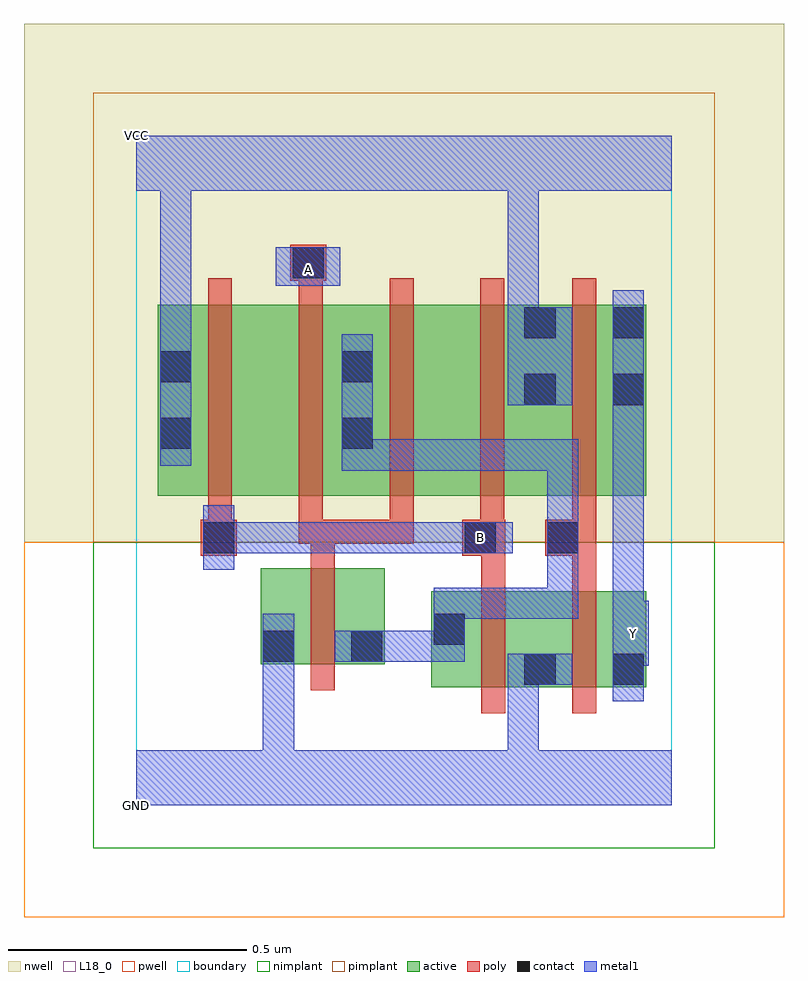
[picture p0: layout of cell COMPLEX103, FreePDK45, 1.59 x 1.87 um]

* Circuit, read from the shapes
.subckt COMPLEX103 A B GND VCC Y
M1 n1 A GND VSUBS nfet w=0.2u l=0.05u
M2 GND B n1 VSUBS nfet w=0.2u l=0.05u
M3 Y n1 GND VSUBS nfet w=0.2u l=0.05u
M4 n2 B VCC n3 pfet w=0.4u l=0.05u
M5 n1 A n2 n3 pfet w=0.4u l=0.05u
M6 n4 A n1 n3 pfet w=0.4u l=0.05u
M7 VCC B n4 n3 pfet w=0.4u l=0.05u
M8 Y n1 VCC n3 pfet w=0.4u l=0.05u
.ends

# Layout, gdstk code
import gdstk
lib = gdstk.Library(unit=1e-6, precision=1e-09)
def R(c, l, rs):  # rectangles x0, y0, x1, y1
    for r in rs: c.add(gdstk.rectangle(r[:2], r[2:], *l))
def A(c, l, x, y, w, h, nx, ny, dx, dy):  # array of equal rectangles
    R(c, l, [(x+i*dx, y+j*dy, x+i*dx+w, y+j*dy+h) for i in range(nx) for j in range(ny)])
active = (1, 0)
pwell = (2, 0)
nwell = (3, 0)
nimplant = (4, 0)
pimplant = (5, 0)
poly = (9, 0)
contact = (10, 0)
metal1 = (11, 0)
L18_0 = (18, 0)
boundary = (235, 0)

complex103 = lib.new_cell('COMPLEX103')
R(complex103, active, [(0.617,0.247,0.882,0.447), (0.807,0.247,1.067,0.447), (0.807,0.247,0.882,0.44), (0.992,0.247,1.067,0.447), (0.26,0.295,0.335,0.495), (0.26,0.295,0.52,0.495), (0.445,0.295,0.52,0.495), (0.617,0.295,0.692,0.447), (0.045,0.647,0.27,1.047), (0.045,0.647,0.12,1.005), (0.27,0.647,0.5,1.047), (0.425,0.647,0.65,1.047), (0.65,0.647,0.882,1.047), (0.807,0.647,1.067,1.047), (0.992,0.647,1.067,1.047), (0.425,0.675,0.5,1.005), (0.807,0.832,0.882,1.047)])
R(complex103, pwell, [(-0.235,-0.235,1.355,0.55)])
R(complex103, nwell, [(-0.235,0.55,1.355,1.635)])
R(complex103, nimplant, [(-0.09,-0.09,1.21,0.55)])
R(complex103, pimplant, [(-0.09,0.55,1.21,1.49)])
A(complex103, poly, 0.15, 0.547, 0.05, 0.095, 4, 1, 0.19, 0)
A(complex103, poly, 0.15, 0.592, 0.05, 0.51, 4, 1, 0.19, 0)
R(complex103, poly, [(0.722,0.192,0.772,0.502), (0.912,0.192,0.962,0.502), (0.365,0.24,0.415,0.55), (0.722,0.452,0.772,0.572), (0.912,0.452,0.962,0.572), (0.365,0.5,0.415,0.597), (0.135,0.522,0.21,0.597), (0.682,0.522,0.772,0.597), (0.855,0.522,0.962,0.597), (0.34,0.547,0.415,0.597), (0.365,0.547,0.58,0.597), (0.53,0.547,0.58,0.597), (0.53,0.547,0.58,0.597), (0.53,0.547,0.58,0.597), (0.912,0.547,0.962,0.642), (0.912,0.592,0.962,1.102), (0.34,1.052,0.39,1.147), (0.322,1.097,0.397,1.172)])
R(complex103, contact, [(0.812,0.252,0.877,0.317), (0.997,0.252,1.062,0.317), (0.265,0.3,0.33,0.365), (0.45,0.3,0.515,0.365), (0.622,0.335,0.687,0.4), (0.14,0.527,0.205,0.592), (0.687,0.527,0.752,0.592), (0.86,0.527,0.925,0.592), (0.05,0.745,0.115,0.81), (0.43,0.745,0.495,0.81), (0.812,0.837,0.877,0.902), (0.997,0.837,1.062,0.902), (0.05,0.885,0.115,0.95), (0.43,0.885,0.495,0.95), (0.812,0.977,0.877,1.042), (0.997,0.977,1.062,1.042), (0.327,1.102,0.392,1.167)])
R(complex103, metal1, [(0,0,1.12,0.115), (0.265,0.05,0.33,0.115), (0.265,0.05,0.33,0.115), (0.265,0.05,0.33,0.115), (0.265,0.05,0.33,0.115), (0.265,0.05,0.33,0.33), (0.777,0.05,0.842,0.317), (0.997,0.217,1.062,0.352), (0.777,0.252,0.842,0.317), (0.777,0.252,0.842,0.317), (0.777,0.252,0.842,0.317), (0.777,0.252,0.842,0.317), (0.777,0.252,0.912,0.317), (0.265,0.265,0.33,0.4), (0.997,0.287,1.062,0.357), (0.997,0.292,1.072,0.427), (0.415,0.3,0.55,0.365), (0.485,0.3,0.55,0.365), (0.485,0.3,0.55,0.365), (0.485,0.3,0.687,0.365), (0.622,0.3,0.687,0.435), (0.997,0.362,1.062,0.867), (0.622,0.37,0.687,0.435), (0.622,0.37,0.687,0.455), (0.622,0.39,0.925,0.455), (0.86,0.39,0.925,0.455), (0.86,0.39,0.925,0.557), (0.14,0.492,0.205,0.627), (0.86,0.492,0.925,0.627), (0.86,0.492,0.925,0.557), (0.86,0.492,0.925,0.557), (0.86,0.492,0.925,0.765), (0.14,0.527,0.205,0.592), (0.14,0.527,0.205,0.592), (0.14,0.527,0.342,0.592), (0.277,0.527,0.342,0.592), (0.277,0.527,0.342,0.592), (0.277,0.527,0.342,0.592), (0.277,0.527,0.55,0.592), (0.485,0.527,0.55,0.592), (0.485,0.527,0.705,0.592), (0.64,0.527,0.705,0.592), (0.64,0.527,0.717,0.592), (0.652,0.527,0.787,0.592), (0.43,0.7,0.705,0.765), (0.43,0.7,0.495,0.775), (0.64,0.7,0.705,0.765), (0.64,0.7,0.705,0.765), (0.64,0.7,0.705,0.765), (0.64,0.7,0.925,0.765), (0.86,0.7,0.925,0.765), (0.05,0.71,0.115,0.985), (0.43,0.71,0.495,0.985), (0.43,0.71,0.495,0.775), (0.997,0.802,1.062,1.077), (0.777,0.837,0.912,1.042), (0.05,0.92,0.115,0.985), (0.05,0.92,0.115,0.985), (0.05,0.92,0.115,1.35), (0.777,0.977,0.842,1.042), (0.777,0.977,0.842,1.042), (0.777,0.977,0.842,1.35), (0.292,1.087,0.427,1.167), (0,1.285,1.12,1.4), (0.05,1.285,0.115,1.35), (0.05,1.285,0.115,1.35), (0.777,1.285,0.842,1.35), (0.777,1.285,0.842,1.35)])
R(complex103, L18_0, [(0,0,1.12,0.115), (0.265,0.05,0.33,0.115), (0.265,0.05,0.33,0.115), (0.265,0.05,0.33,0.115), (0.265,0.05,0.33,0.115), (0.265,0.05,0.33,0.33), (0.777,0.05,0.842,0.317), (0.997,0.217,1.062,0.352), (0.777,0.252,0.842,0.317), (0.777,0.252,0.842,0.317), (0.777,0.252,0.842,0.317), (0.777,0.252,0.842,0.317), (0.777,0.252,0.912,0.317), (0.265,0.265,0.33,0.4), (0.997,0.287,1.062,0.357), (0.997,0.292,1.072,0.427), (1.007,0.327,1.072,0.392), (0.997,0.362,1.062,0.867), (0.14,0.492,0.205,0.627), (0.14,0.527,0.205,0.592), (0.14,0.527,0.205,0.592), (0.14,0.527,0.342,0.592), (0.277,0.527,0.342,0.592), (0.277,0.527,0.342,0.592), (0.277,0.527,0.342,0.592), (0.277,0.527,0.55,0.592), (0.485,0.527,0.55,0.592), (0.485,0.527,0.705,0.592), (0.64,0.527,0.705,0.592), (0.64,0.527,0.717,0.592), (0.652,0.527,0.787,0.592), (0.687,0.527,0.752,0.592), (0.05,0.71,0.115,0.985), (0.997,0.802,1.062,1.077), (0.777,0.837,0.912,1.042), (0.05,0.92,0.115,0.985), (0.05,0.92,0.115,0.985), (0.05,0.92,0.115,1.35), (0.777,0.977,0.842,1.042), (0.777,0.977,0.842,1.042), (0.777,0.977,0.842,1.35), (0.292,1.087,0.427,1.167), (0.327,1.087,0.392,1.152), (0,1.285,1.12,1.4), (0.05,1.285,0.115,1.35), (0.05,1.285,0.115,1.35), (0.777,1.285,0.842,1.35), (0.777,1.285,0.842,1.35)])
R(complex103, boundary, [(0,0,1.12,1.4)])
complex103.add(gdstk.Label('A', (0.36,1.12), layer=11, texttype=0))
complex103.add(gdstk.Label('B', (0.72,0.56), layer=11, texttype=0))
complex103.add(gdstk.Label('Y', (1.04,0.36), layer=11, texttype=0))
complex103.add(gdstk.Label('VCC', (0,1.4), layer=11, texttype=0))
complex103.add(gdstk.Label('GND', (0,0), layer=11, texttype=0))

lib.write_gds('COMPLEX103.gds')
